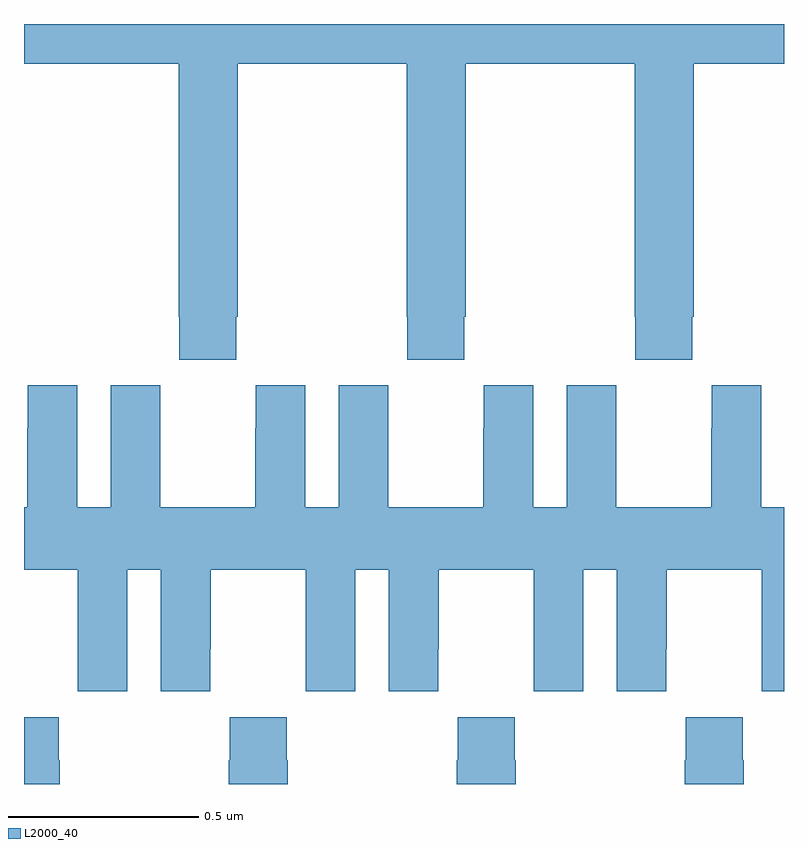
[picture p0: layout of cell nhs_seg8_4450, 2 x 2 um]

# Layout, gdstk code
import gdstk
lib = gdstk.Library(unit=1e-6, precision=1e-09)
def P(c, l, *ps):  # polygons
    for p in ps: c.add(gdstk.Polygon(p, *l))
L2000_40 = (2000, 40)

nhs_seg8_4450 = lib.new_cell('nhs_seg8_4450')
P(nhs_seg8_4450, L2000_40, [(170,1153.796),(170.407,1153.796),(170.407,1153.129),(170.409,1153.129),(170.409,1153.017),(170.559,1153.017),(170.559,1153.129),(170.562,1153.129),(170.562,1153.796),(171.007,1153.796),(171.007,1153.129),(171.009,1153.129),(171.009,1153.017),(171.159,1153.017),(171.159,1153.129),(171.162,1153.129),(171.162,1153.796),(171.607,1153.796),(171.607,1153.129),(171.609,1153.129),(171.609,1153.017),(171.759,1153.017),(171.759,1153.129),(171.762,1153.129),(171.762,1153.796),(172,1153.796),(172,1153.9),(170,1153.9)],
  [(171.559,1152.836),(171.558,1152.836),(171.558,1152.949),(171.428,1152.949),(171.428,1152.628),(171.34,1152.628),(171.34,1152.949),(171.21,1152.949),(171.21,1152.836),(171.209,1152.836),(171.209,1152.628),(170.959,1152.628),(170.959,1152.836),(170.958,1152.836),(170.958,1152.949),(170.828,1152.949),(170.828,1152.628),(170.74,1152.628),(170.74,1152.949),(170.61,1152.949),(170.61,1152.836),(170.609,1152.836),(170.609,1152.628),(170.359,1152.628),(170.359,1152.836),(170.358,1152.836),(170.358,1152.949),(170.228,1152.949),(170.228,1152.628),(170.14,1152.628),(170.14,1152.949),(170.01,1152.949),(170.01,1152.836),(170.009,1152.836),(170.009,1152.628),(170,1152.628),(170,1152.464),(170.141,1152.464),(170.141,1152.256),(170.142,1152.256),(170.142,1152.144),(170.272,1152.144),(170.272,1152.464),(170.36,1152.464),(170.36,1152.144),(170.49,1152.144),(170.49,1152.256),(170.491,1152.256),(170.491,1152.464),(170.741,1152.464),(170.741,1152.256),(170.742,1152.256),(170.742,1152.144),(170.872,1152.144),(170.872,1152.464),(170.96,1152.464),(170.96,1152.144),(171.09,1152.144),(171.09,1152.256),(171.091,1152.256),(171.091,1152.464),(171.341,1152.464),(171.341,1152.256),(171.342,1152.256),(171.342,1152.144),(171.472,1152.144),(171.472,1152.464),(171.56,1152.464),(171.56,1152.144),(171.69,1152.144),(171.69,1152.256),(171.691,1152.256),(171.691,1152.464),(171.941,1152.464),(171.941,1152.256),(171.942,1152.256),(171.942,1152.144),(172,1152.144),(172,1152.628),(171.94,1152.628),(171.94,1152.949),(171.81,1152.949),(171.81,1152.836),(171.809,1152.836),(171.809,1152.628),(171.559,1152.628)],
  [(171.894,1151.963),(171.891,1151.963),(171.891,1152.076),(171.741,1152.076),(171.741,1151.963),(171.739,1151.963),(171.739,1151.9),(171.894,1151.9)],
  [(171.294,1151.963),(171.291,1151.963),(171.291,1152.076),(171.141,1152.076),(171.141,1151.963),(171.139,1151.963),(171.139,1151.9),(171.294,1151.9)],
  [(170.694,1151.963),(170.691,1151.963),(170.691,1152.076),(170.541,1152.076),(170.541,1151.963),(170.539,1151.963),(170.539,1151.9),(170.694,1151.9)],
  [(170.094,1151.963),(170.091,1151.963),(170.091,1152.076),(170,1152.076),(170,1151.9),(170.094,1151.9)])

lib.write_gds('nhs_seg8_4450.gds')
